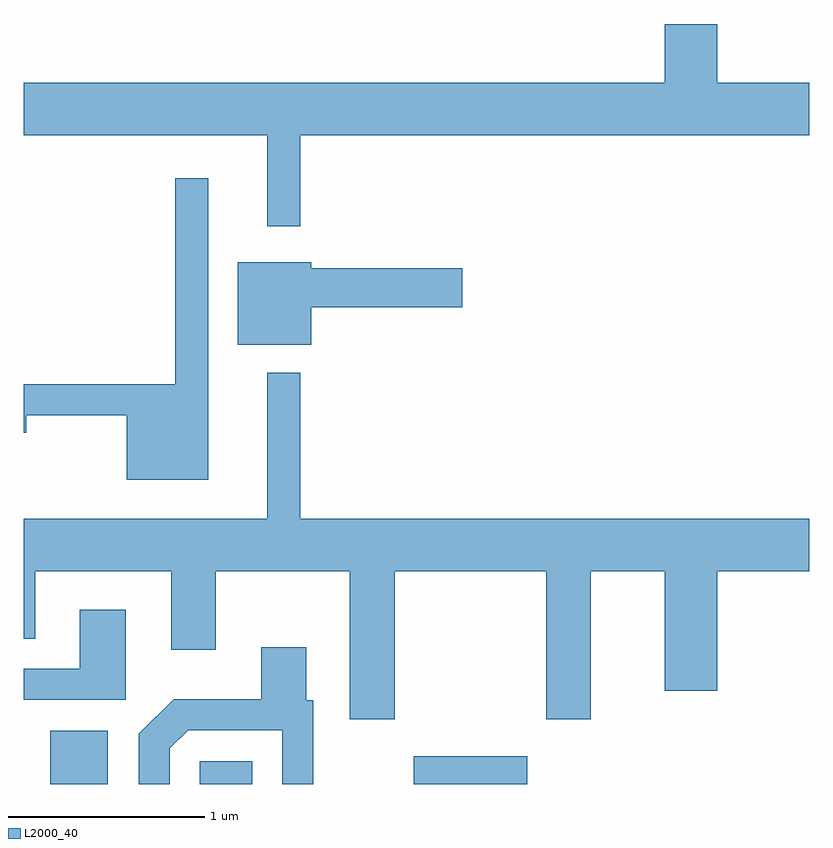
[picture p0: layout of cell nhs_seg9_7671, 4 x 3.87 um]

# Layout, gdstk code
import gdstk
lib = gdstk.Library(unit=1e-6, precision=1e-09)
def R(c, l, rs):  # rectangles x0, y0, x1, y1
    for r in rs: c.add(gdstk.rectangle(r[:2], r[2:], *l))
def P(c, l, *ps):  # polygons
    for p in ps: c.add(gdstk.Polygon(p, *l))
L2000_40 = (2000, 40)

nhs_seg9_7671 = lib.new_cell('nhs_seg9_7671')
R(nhs_seg9_7671, L2000_40, [(411.746,2068.432,412.039,2068.704), (412.506,2068.432,412.774,2068.549), (413.596,2068.432,414.174,2068.574)])
P(nhs_seg9_7671, L2000_40, [(413.019,2071.736),(415.611,2071.736),(415.611,2072.004),(415.144,2072.004),(415.144,2072.304),(414.876,2072.304),(414.876,2072.004),(411.611,2072.004),(411.611,2071.736),(412.851,2071.736),(412.851,2071.273),(413.019,2071.273)],
  [(412.549,2071.518),(412.381,2071.518),(412.381,2070.469),(411.611,2070.469),(411.611,2070.221),(411.624,2070.221),(411.624,2070.311),(412.136,2070.311),(412.136,2069.981),(412.549,2069.981)],
  [(413.074,2070.861),(413.844,2070.861),(413.844,2071.059),(413.074,2071.059),(413.074,2071.089),(412.701,2071.089),(412.701,2070.671),(413.074,2070.671)],
  [(413.499,2069.516),(414.271,2069.516),(414.271,2068.761),(414.499,2068.761),(414.499,2069.516),(414.876,2069.516),(414.876,2068.906),(415.144,2068.906),(415.144,2069.516),(415.611,2069.516),(415.611,2069.784),(413.019,2069.784),(413.019,2070.528),(412.851,2070.528),(412.851,2069.784),(411.611,2069.784),(411.611,2069.171),(411.669,2069.171),(411.669,2069.516),(412.361,2069.516),(412.361,2069.116),(412.589,2069.116),(412.589,2069.516),(413.271,2069.516),(413.271,2068.761),(413.499,2068.761)],
  [(412.129,2069.319),(411.896,2069.319),(411.896,2069.019),(411.611,2069.019),(411.611,2068.861),(412.129,2068.861)],
  [(412.354,2068.614),(412.447,2068.706),(412.926,2068.706),(412.926,2068.432),(413.084,2068.432),(413.084,2068.859),(413.049,2068.859),(413.049,2069.129),(412.821,2069.129),(412.821,2068.864),(412.374,2068.864),(412.196,2068.687),(412.196,2068.432),(412.354,2068.432)])

lib.write_gds('nhs_seg9_7671.gds')
